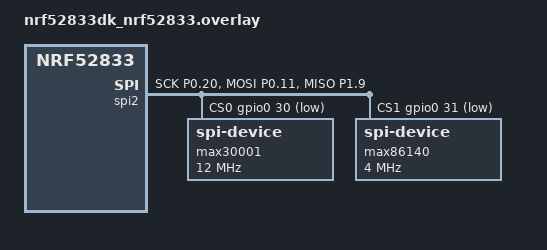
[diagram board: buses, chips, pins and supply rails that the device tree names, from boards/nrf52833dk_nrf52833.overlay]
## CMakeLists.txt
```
cmake_minimum_required(VERSION 3.20.0)
find_package(Zephyr REQUIRED HINTS $ENV{ZEPHYR_BASE})

project(VitalSensors)

target_sources(app PRIVATE src/main.c)
target_sources(app PRIVATE src/drivers.c)
target_sources(app PRIVATE src/wireless.c)

target_include_directories(app PRIVATE src/include)
```

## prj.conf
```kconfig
CONFIG_BT=y
CONFIG_BT_PERIPHERAL=y

CONFIG_BT_DEVICE_NAME="VitalSensors"

CONFIG_BT_MAX_CONN=1
CONFIG_BT_MAX_PAIRED=1

CONFIG_LOG=y
CONFIG_LOG_DEFAULT_LEVEL=3
CONFIG_LOG_MODE_IMMEDIATE=y
CONFIG_LOG_BACKEND_UART=y

CONFIG_BT_SETTINGS=y

CONFIG_CONSOLE=y
CONFIG_UART_CONSOLE=y

CONFIG_SPI=y
CONFIG_SPI_ASYNC=y
CONFIG_SPI_NRFX=y

CONFIG_GPIO=y

CONFIG_PRINTK=y


CONFIG_SENSOR=y

CONFIG_HEAP_MEM_POOL_SIZE=4096

CONFIG_CLOCK_CONTROL_NRF_K32SRC_RC=y
CONFIG_CLOCK_CONTROL_NRF_K32SRC_500PPM=y

CONFIG_BT_DEVICE_APPEARANCE=833
```

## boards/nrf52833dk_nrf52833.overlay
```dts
&pinctrl {
    spi2_default: spi2_default {
        group1 {
            psels = <NRF_PSEL(SPIM_SCK, 0, 20)>,
                    <NRF_PSEL(SPIM_MOSI, 0, 11)>,
                    <NRF_PSEL(SPIM_MISO, 1, 9)>;
        };
    };
};

&spi2 {
    status = "okay";

    pinctrl-0 = <&spi2_default>;
    pinctrl-names = "default";

    cs-gpios = <&gpio0 30 GPIO_ACTIVE_LOW>, /* MAX30001 CS */
               <&gpio0 31 GPIO_ACTIVE_LOW>; /* MAX86140 CS */

    max30001: max30001@0 {
        compatible = "zephyr,spi-device";
        reg = <0>;
        spi-max-frequency = <12000000>;
    };

    max86140: max86140@1 {
        compatible = "zephyr,spi-device";
        reg = <1>;
        spi-max-frequency = <4000000>;
    };
};

/ {
    aliases {
        max30001 = &max30001;
        max86140 = &max86140;
    };
};
```

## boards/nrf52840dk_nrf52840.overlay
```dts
#include <zephyr/dt-bindings/spi/spi.h>

&pinctrl {
    spi2_default: spi2_default {
        group1 {
            psels = <NRF_PSEL(SPIM_SCK, 0, 20)>,
                    <NRF_PSEL(SPIM_MOSI, 0, 11)>,
                    <NRF_PSEL(SPIM_MISO, 1, 9)>;
        };
    };

    spi2_sleep: spi2_sleep {
        group1 {
            psels = <NRF_PSEL(SPIM_SCK, 0, 20)>,
                    <NRF_PSEL(SPIM_MOSI, 0, 11)>,
                    <NRF_PSEL(SPIM_MISO, 1, 9)>;
            low-power-enable;
        };
    };
};

&spi2 {
    status = "okay";
    compatible = "nordic,nrf-spim";
    cs-gpios = <&gpio0 31 GPIO_ACTIVE_LOW>, <&gpio0 30 GPIO_ACTIVE_LOW>;
    pinctrl-0 = <&spi2_default>;
    pinctrl-1 = <&spi2_sleep>;
    pinctrl-names = "default", "sleep";

    max86140: max86140@0 {
        compatible = "vnd,spi-device";
        reg = <0>;
        label = "max86140";
        spi-max-frequency = <4000000>;
        duplex = <SPI_FULL_DUPLEX>;
        frame-format = <SPI_FRAME_FORMAT_MOTOROLA>;
    };

    max30001: max30001@1 {
        compatible = "vnd,spi-device";
        reg = <1>;
        label = "max30001";
        spi-max-frequency = <12000000>;
        duplex = <SPI_FULL_DUPLEX>;
        frame-format = <SPI_FRAME_FORMAT_MOTOROLA>;
    };
};
```

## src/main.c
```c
#include <zephyr/kernel.h>
#include <zephyr/logging/log.h>

#include <stdint.h>

LOG_MODULE_REGISTER(main, LOG_LEVEL_INF);

#include "drivers.h"
#include "wireless.h"

void main(void)
{
    int err;
    uint32_t red_sample, ir_sample;

    err = max86140_init();
    if (err) {
        LOG_ERR("MAX86140 init failed");
        return;
    }

    err = max30001_init();
    if (err) {
        LOG_ERR("MAX30001 init failed");
        return;
    }

    err = init_wireless();
    if (err) return;
}
```

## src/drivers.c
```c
#include <zephyr/kernel.h>
#include <zephyr/device.h>
#include <zephyr/devicetree.h>
#include <zephyr/drivers/spi.h>
#include <zephyr/drivers/gpio.h>
#include <zephyr/logging/log.h>

LOG_MODULE_REGISTER(drivers, LOG_LEVEL_INF);

#include "drivers.h"

#define MAX86140_SAMPLE_RATE 4 // ms
#define MAX30001_ECG_SAMPLE_RATE 5 // ms
#define MAX30001_BIOZ_SAMPLE_RATE 20 // ms

#define MAX86140_NODE DT_NODELABEL(max86140)
#define MAX30001_NODE DT_NODELABEL(max30001)

const struct spi_dt_spec max86140_spi = SPI_DT_SPEC_GET(MAX86140_NODE, SPI_WORD_SET(8), 0);
const struct spi_dt_spec max30001_spi = SPI_DT_SPEC_GET(MAX30001_NODE, SPI_WORD_SET(8), 0);

static struct k_work_delayable max86140_sample_work;
static struct k_work_delayable max30001_ecg_sample_work;
static struct k_work_delayable max30001_bioz_sample_work;

float ecg = 0.;
float bioz = 0.;
float rtor = 0.;
float hr = 0.;
float spo2 = 0.;

int max86140_spi_write_reg(uint8_t reg, uint8_t value)
{
    uint8_t tx_buf[2] = {reg, value};

    struct spi_buf tx_bufs = {.buf = tx_buf, .len = sizeof(tx_buf)};
    struct spi_buf_set tx = {.buffers = &tx_bufs, .count = 1};

    return spi_write_dt(&max86140_spi, &tx);
}

int max86140_spi_read_reg(uint8_t reg, uint8_t *value)
{
    uint8_t tx_buf[1] = {(reg << 1) | 1};
    uint8_t rx_buf[1];

    struct spi_buf tx_bufs = {.buf = tx_buf, .len = sizeof(tx_buf)};
    struct spi_buf rx_bufs = {.buf = rx_buf, .len = sizeof(rx_buf)};

    struct spi_buf_set tx_set = {.buffers = &tx_bufs, .count = 1};
    struct spi_buf_set rx_set = {.buffers = &rx_bufs, .count = 1};

    int ret = spi_transceive_dt(&max86140_spi, &tx_set, &rx_set);
    if (ret == 0) {
        *value = rx_buf[0];
    }
    return ret;
}

void max86140_sample_handler(struct k_work *work)
{
    // LOG_INF("Sampling max86140");

    // sample sensor

    k_work_schedule(&max86140_sample_work, K_MSEC(MAX86140_SAMPLE_RATE));
}

int max86140_init(void)
{
    int ret;

    if (!device_is_ready(max86140_spi.bus)) {
        LOG_ERR("MAX86140 SPI bus not ready");
        return -ENODEV;
    }

    // Reset
    ret = max86140_spi_write_reg(0x0D, 0x01);
    if (ret) return ret;

    k_msleep(2);

    // Clear interrupts by reading INT_STATUS1 and INT_STATUS2
    uint8_t dummy;
    max86140_spi_read_reg(0x00, &dummy);
    max86140_spi_read_reg(0x01, &dummy);

    // LED1 and LED2 Sequencing
    ret = max86140_spi_write_reg(0x20, 0x21);
    if (ret) return ret;

    // LED3 Sequencing
    ret = max86140_spi_write_reg(0x21, 0x03);
    if (ret) return ret;

    // LED current range
    ret = max86140_spi_write_reg(0x2A, 0x3F);
    if (ret) return ret;

    // LED 1 current
    ret = max86140_spi_write_reg(0x23, 0xFF);
    if (ret) return ret;

    // LED 2 current
    ret = max86140_spi_write_reg(0x24, 0xFF);
    if (ret) return ret;

    // LED 3 current
    ret = max86140_spi_write_reg(0x25, 0xFF);
    if (ret) return ret;

    // Exit shutdown
    ret = max86140_spi_write_reg(0x0D, 0x00);
    if (ret) return ret;
    
    k_work_init_delayable(&max86140_sample_work, max86140_sample_handler);
    k_work_schedule(&max86140_sample_work, K_MSEC(MAX86140_SAMPLE_RATE));

    return 0;
}

int max86140_read_fifo(uint32_t *red_sample, uint32_t *ir_sample)
{
    uint8_t tx_buf[1] = { (0x07 << 1) | 1 }; // FIFO read
    uint8_t rx_buf[6] = {0};

    struct spi_buf tx_bufs = {.buf = tx_buf, .len = sizeof(tx_buf)};
    struct spi_buf rx_bufs = {.buf = rx_buf, .len = sizeof(rx_buf)};

    struct spi_buf_set tx_set = {.buffers = &tx_bufs, .count = 1};
    struct spi_buf_set rx_set = {.buffers = &rx_bufs, .count = 1};

    int ret = spi_transceive_dt(&max86140_spi, &tx_set, &rx_set);
    if (ret == 0) {
        *red_sample = ((uint32_t)rx_buf[0] << 16) | ((uint32_t)rx_buf[1] << 8) | rx_buf[2];
        *ir_sample  = ((uint32_t)rx_buf[3] << 16) | ((uint32_t)rx_buf[4] << 8) | rx_buf[5];
        *red_sample >>= 6;
        *ir_sample  >>= 6;
    }
    return ret;
}

int max30001_spi_write_reg(uint8_t reg, uint32_t value)
{
    uint8_t tx_buf[4] = {
        (reg << 1) | 0,
        (value >> 16) & 0xFF,
        (value >> 8) & 0xFF,
        (value >> 0) & 0xFF
    };

    struct spi_buf tx_bufs = {.buf = tx_buf, .len = sizeof(tx_buf)};
    struct spi_buf_set tx = {.buffers = &tx_bufs, .count = 1};

    return spi_write_dt(&max30001_spi, &tx);
}

int max30001_spi_read_reg(uint8_t reg, uint32_t *data)
{
    uint8_t tx_buf[4] = {(reg << 1) | 1, 0, 0, 0};
    uint8_t rx_buf[4];

    struct spi_buf tx_bufs = {.buf = tx_buf, .len = sizeof(tx_buf)};
    struct spi_buf rx_bufs = {.buf = rx_buf, .len = sizeof(rx_buf)};

    struct spi_buf_set tx_set = {.buffers = &tx_bufs, .count = 1};
    struct spi_buf_set rx_set = {.buffers = &rx_bufs, .count = 1};

    int ret = spi_transceive_dt(&max30001_spi, &tx_set, &rx_set);
    if (ret == 0) {
        *data = ((uint32_t)rx_buf[1] << 16) | ((uint32_t)rx_buf[2] << 8) | (uint32_t)rx_buf[3];
    }
    return ret;
}

void max30001_ecg_sample_handler(struct k_work *work)
{
    int32_t sample;
    uint8_t etag;
    uint8_t ptag;
    max30001_read_ecg_fifo(&sample, &etag, &ptag);

    ecg = sample * 1000.0 / (131072 * 20);

    k_work_schedule(&max30001_ecg_sample_work, K_MSEC(MAX30001_ECG_SAMPLE_RATE));
}

void max30001_bioz_sample_handler(struct k_work *work)
{
    int32_t bioz_sample;
    uint8_t btag;
    max30001_read_bioz_fifo(&bioz_sample, &btag);

    bioz = bioz_sample * 1.0 / (524288 * 0.000008 * 10);

    uint16_t rtor_sample;
    max30001_read_rtor(&rtor_sample);

    rtor = 60.0 / (rtor_sample * 0.008);

    k_work_schedule(&max30001_bioz_sample_work, K_MSEC(MAX30001_BIOZ_SAMPLE_RATE));
}

int max30001_init(void)
{
    int ret;

    if (!device_is_ready(max30001_spi.bus)) {
        LOG_ERR("MAX30001 SPI bus not ready");
        return -ENODEV;
    }

    // Software reset
    ret = max30001_spi_write_reg(0x08, 0x000000);
    if (ret) return ret;

    k_msleep(10);
    
    // Configuration
    ret = max30001_spi_write_reg(0x10, 0x2C0000);
    if (ret) return ret;

    // ECG Rate
    ret = max30001_spi_write_reg(0x15, 0x805000);
    if (ret) return ret;

    // EMUX configure
    ret = max30001_spi_write_reg(0x14, 0x000000);
    if (ret) return ret;

    // Enable R-R
    ret = max30001_spi_write_reg(0x1D, 0x1FD180);
    if (ret) return ret;

    // Sync command
    ret = max30001_spi_write_reg(0x09, 0x000000);
    if (ret) return ret;
    
    // Reset FIFO
    ret = max30001_spi_write_reg(0x0A, 0x000000);
    if (ret) return ret;

    k_work_init_delayable(&max30001_ecg_sample_work, max30001_ecg_sample_handler);
    k_work_init_delayable(&max30001_bioz_sample_work, max30001_bioz_sample_handler);
    k_work_schedule(&max30001_ecg_sample_work, K_MSEC(MAX30001_ECG_SAMPLE_RATE));
    k_work_schedule(&max30001_bioz_sample_work, K_MSEC(MAX30001_BIOZ_SAMPLE_RATE));

    return 0;
}

int max30001_read_ecg_fifo(int32_t *sample, uint8_t *etag, uint8_t *ptag)
{
    uint32_t data;
    int ret = max30001_spi_read_reg(0x21, &data);
    if (ret == 0) {
        int32_t raw_sample = (int32_t)(data >> 6);
        raw_sample = (raw_sample << 14) >> 14; // sign-extend from 18-bit
        *sample = raw_sample;
        *etag = (uint8_t)((data >> 3) & 0x07);
        *ptag = (uint8_t)(data & 0x07);
    }
    return ret;
}

int max30001_read_bioz_fifo(int32_t *sample, uint8_t *btag)
{
    uint32_t data;
    int ret = max30001_spi_read_reg(0x23, &data);
    if (ret == 0) {
        int32_t raw_sample = (int32_t)(data >> 4);
        raw_sample = (raw_sample << 12) >> 12; // sign-extend from 20-bit
        *sample = raw_sample;
        *btag = (uint8_t)(data & 0x07);
    }
    return ret;
}

int max30001_read_rtor(uint16_t *sample)
{
    uint32_t data;
    int ret = max30001_spi_read_reg(0x25, &data);
    if (ret == 0) {
        *sample = (uint16_t)(data >> 10);
    }
    return ret;
}
```

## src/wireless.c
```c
#include <zephyr/kernel.h>
#include <zephyr/bluetooth/bluetooth.h>
#include <zephyr/bluetooth/gatt.h>
#include <zephyr/logging/log.h>

LOG_MODULE_REGISTER(wireless, LOG_LEVEL_INF);

#include "wireless.h"
#include "drivers.h"

#define BT_UUID_CUSTOM_SERVICE_VAL \
    BT_UUID_128_ENCODE(0x12345678, 0x1234, 0x5678, 0x1234, 0x56789abcde00)

#define BT_UUID_MAX86140_HR_VAL \
    BT_UUID_128_ENCODE(0x12345678, 0x1234, 0x5678, 0x1234, 0x56789abcde11)
#define BT_UUID_MAX86140_SPO2_VAL \
    BT_UUID_128_ENCODE(0x12345678, 0x1234, 0x5678, 0x1234, 0x56789abcde12)

#define BT_UUID_MAX30001_ECG_VAL \
    BT_UUID_128_ENCODE(0x12345678, 0x1234, 0x5678, 0x1234, 0x56789abcde21)
#define BT_UUID_MAX30001_BIOZ_VAL \
    BT_UUID_128_ENCODE(0x12345678, 0x1234, 0x5678, 0x1234, 0x56789abcde22)
#define BT_UUID_MAX30001_RTOR_VAL \
    BT_UUID_128_ENCODE(0x12345678, 0x1234, 0x5678, 0x1234, 0x56789abcde23)

#define BT_UUID_WRITE_CHAR_VAL \
    BT_UUID_128_ENCODE(0x12345678, 0x1234, 0x5678, 0x1234, 0x56789abcde99)

#define MAX30001_STANDARD_PERIOD 30 // seconds
#define MAX86140_STANDARD_PERIOD 18 // seconds
#define MAX86140_ABNORMAL_PERIOD 8  // seconds

static struct bt_uuid_128 svc_uuid      = BT_UUID_INIT_128(BT_UUID_CUSTOM_SERVICE_VAL);
static struct bt_uuid_128 notify_hr = BT_UUID_INIT_128(BT_UUID_MAX86140_HR_VAL);
static struct bt_uuid_128 notify_spo2 = BT_UUID_INIT_128(BT_UUID_MAX86140_SPO2_VAL);
static struct bt_uuid_128 notify_ecg = BT_UUID_INIT_128(BT_UUID_MAX30001_ECG_VAL);
static struct bt_uuid_128 notify_bioz = BT_UUID_INIT_128(BT_UUID_MAX30001_BIOZ_VAL);
static struct bt_uuid_128 notify_rtor = BT_UUID_INIT_128(BT_UUID_MAX30001_RTOR_VAL);
static struct bt_uuid_128 write_uuid = BT_UUID_INIT_128(BT_UUID_WRITE_CHAR_VAL);

static ssize_t write_handler(
    struct bt_conn *conn,
    const struct bt_gatt_attr *attr,
    const void *buf, uint16_t len,
    uint16_t offset, uint8_t flags);

BT_GATT_SERVICE_DEFINE(custom_svc,
        BT_GATT_PRIMARY_SERVICE(&svc_uuid),
    
        BT_GATT_CHARACTERISTIC(&notify_hr.uuid,
                               BT_GATT_CHRC_NOTIFY,
                               BT_GATT_PERM_NONE,
                               NULL, NULL, NULL),
        BT_GATT_CCC(NULL, BT_GATT_PERM_READ | BT_GATT_PERM_WRITE),
    
        BT_GATT_CHARACTERISTIC(&notify_spo2.uuid,
                               BT_GATT_CHRC_NOTIFY,
                               BT_GATT_PERM_NONE,
                               NULL, NULL, NULL),
        BT_GATT_CCC(NULL, BT_GATT_PERM_READ | BT_GATT_PERM_WRITE),
    
        BT_GATT_CHARACTERISTIC(&notify_ecg.uuid,
                               BT_GATT_CHRC_NOTIFY,
                               BT_GATT_PERM_NONE,
                               NULL, NULL, NULL),
        BT_GATT_CCC(NULL, BT_GATT_PERM_READ | BT_GATT_PERM_WRITE),
    
        BT_GATT_CHARACTERISTIC(&notify_bioz.uuid,
                               BT_GATT_CHRC_NOTIFY,
                               BT_GATT_PERM_NONE,
                               NULL, NULL, NULL),
        BT_GATT_CCC(NULL, BT_GATT_PERM_READ | BT_GATT_PERM_WRITE),

        BT_GATT_CHARACTERISTIC(&notify_rtor.uuid,
                               BT_GATT_CHRC_NOTIFY,
                               BT_GATT_PERM_NONE,
                               NULL, NULL, NULL),
        BT_GATT_CCC(NULL, BT_GATT_PERM_READ | BT_GATT_PERM_WRITE),

        BT_GATT_CHARACTERISTIC(&write_uuid.uuid,
            BT_GATT_CHRC_WRITE,
            BT_GATT_PERM_WRITE,
            NULL, write_handler, NULL)
    );

static struct bt_conn *current_conn;
static struct k_work_delayable max30001_ble_work;
static struct k_work_delayable max86140_ble_work;
static bool max86140_abnormal_condition = false;

static ssize_t write_handler(
    struct bt_conn *conn,
    const struct bt_gatt_attr *attr,
    const void *buf, uint16_t len,
    uint16_t offset, uint8_t flags)
{
    LOG_INF("Received %d bytes from central", len);
    const uint8_t *data = buf;
    for (int i = 0; i < len; i++) {
        LOG_INF("%02X ", data[i]);
    }
    LOG_INF("\n");

    // do something when data is received...

    return len;
}

static void connected(struct bt_conn *conn, uint8_t err)
{
    if (err) {
        LOG_ERR("Connection failed (err %u)", err);
        return;
    }
    current_conn = bt_conn_ref(conn);
    LOG_INF("Connected");
    
    k_work_schedule(&max30001_ble_work, K_SECONDS(MAX30001_STANDARD_PERIOD));
    k_work_schedule(&max86140_ble_work, K_SECONDS(MAX86140_STANDARD_PERIOD));
}

static void disconnected(struct bt_conn *conn, uint8_t reason)
{
    LOG_INF("Disconnected (reason %u)", reason);
    if (current_conn) {
        bt_conn_unref(current_conn);
        current_conn = NULL;
    }

    k_work_cancel_delayable(&max30001_ble_work);
    k_work_cancel_delayable(&max86140_ble_work);
}

BT_CONN_CB_DEFINE(conn_callbacks) = {
    .connected = connected,
    .disconnected = disconnected,
};

void max30001_ble_handler(struct k_work *work)
{
    LOG_INF("Sending max30001");

    if (!current_conn) {
        LOG_WRN("No connection, skipping BLE message\n");
    }
    else
    {
        int err;

        // Send BLE notification
        err = bt_gatt_notify(current_conn, &custom_svc.attrs[7], &ecg, sizeof(ecg));
        err |= bt_gatt_notify(current_conn, &custom_svc.attrs[10], &bioz, sizeof(bioz));
        err |= bt_gatt_notify(current_conn, &custom_svc.attrs[13], &rtor, sizeof(rtor));
        if (err) {
            LOG_ERR("Failed to notify (err %d)\n", err);
        } else {
            LOG_INF("BLE message sent\n");
        } 
    }

    k_work_schedule(&max30001_ble_work, K_SECONDS(MAX30001_STANDARD_PERIOD));
}

void max86140_ble_handler(struct k_work *work)
{
    LOG_INF("Sending max86140");

    if (!current_conn) {
        LOG_WRN("No connection, skipping BLE message\n");
    }
    else
    {
        int err;

        // Send BLE notification
        err = bt_gatt_notify(current_conn, &custom_svc.attrs[1], &hr, sizeof(hr));
        err |= bt_gatt_notify(current_conn, &custom_svc.attrs[4], &spo2, sizeof(spo2));
        if (err) {
            LOG_ERR("Failed to notify (err %d)\n", err);
        } else {
            LOG_INF("BLE message sent\n");
        } 
    }

    int next_interval = max86140_abnormal_condition ? MAX86140_ABNORMAL_PERIOD : MAX86140_STANDARD_PERIOD;
    k_work_schedule(&max86140_ble_work, K_SECONDS(next_interval));
}

int init_wireless()
{
    int err;

    err = bt_enable(NULL);
    if (err) {
        LOG_ERR("Bluetooth enable failed");
        return err;
    }

    err = bt_le_adv_start(BT_LE_ADV_CONN_NAME, NULL, 0, NULL, 0);
    if (err) {
        LOG_ERR("Bluetooth advertising failed");
        return err;
    }

    k_work_init_delayable(&max30001_ble_work, max30001_ble_handler);
    k_work_init_delayable(&max86140_ble_work, max86140_ble_handler);

    return 0;
}
```
